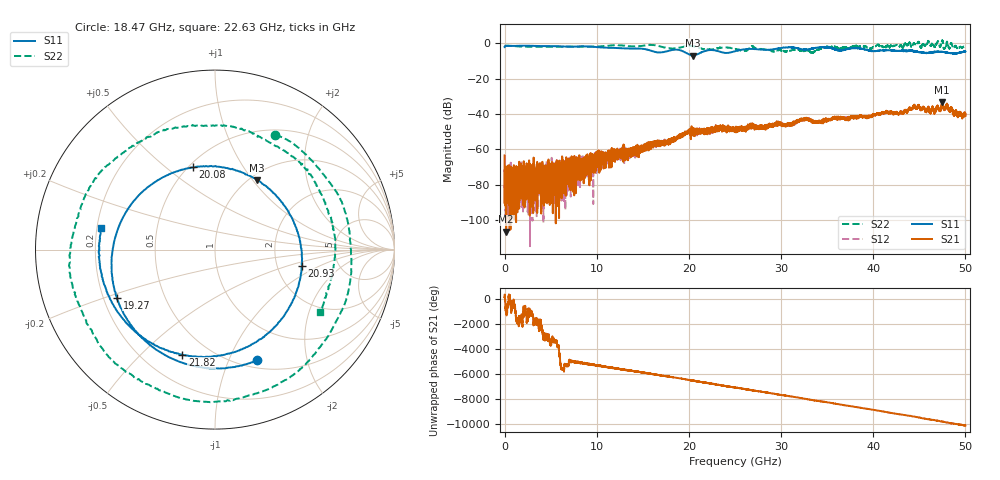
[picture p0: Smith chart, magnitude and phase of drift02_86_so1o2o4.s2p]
!Created with skrf (http://scikit-rf.org).
# Hz S RI R 50.0
!freq ReS11 ImS11 ReS21 ImS21 ReS12 ImS12 ReS22 ImS22
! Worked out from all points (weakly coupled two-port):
!   10001 points, 300 kHz to 50 GHz, reference 50 ohm
!   highest |S21| = -33.45 dB at 47.49 GHz (marker M1); lowest = -106.6 dB at 170.3 MHz (marker M2)
!   lowest |S11| = -6.9 dB at 20.41 GHz (marker M3), VSWR 2.65, Z = 54.1 + j52.4 ohm
!   |S11| at or under -10 dB: nowhere
!   |S22| runs from -5.4 to 1.6 dB; largest |S21 - S12| = 0.0032
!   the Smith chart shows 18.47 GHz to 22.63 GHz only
!   S11 on the Smith chart (normalised r, x): 18.47 GHz: 0.58, -1.28; 19.27 GHz: 0.26, -0.22; 20.08 GHz: 0.53, +0.62; 20.93 GHz: 2.77, -0.66; 21.82 GHz: 0.36, -0.67; 22.63 GHz: 0.22, +0.09
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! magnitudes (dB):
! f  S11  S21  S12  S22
! 300 kHz  -2.1  -63.6  -63.0  -1.3
! 170.3 MHz  -1.5  -106.6  -75.8  -1.4
! 265.3 MHz  -1.4  -82.0  -77.5  -1.4
! 1.815 GHz  -1.4  -77.1  -75.1  -1.8
! 4.505 GHz  -1.6  -74.8  -73.6  -2.0
! 8.335 GHz  -1.7  -67.2  -68.7  -1.9
! 16.67 GHz  -5.2  -57.4  -57.4  -1.4
! 18.47 GHz  -3.6  -53.9  -54.6  -2.8
! 19.27 GHz  -4.3  -52.4  -52.6  -2.1
! 20.08 GHz  -6.5  -49.4  -49.1  -1.5
! 20.41 GHz  -6.9  -50.7  -52.4  -1.7
! 20.93 GHz  -6.1  -50.1  -49.2  -2.2
! 21.82 GHz  -4.2  -50.2  -49.3  -3.5
! 22.63 GHz  -3.8  -47.9  -48.3  -3.3
! 25 GHz  -4.5  -49.5  -49.1  -3.2
! 26.11 GHz  -3.3  -48.0  -47.7  -4.3
! 26.9 GHz  -3.2  -45.6  -46.6  -1.6
! 33.34 GHz  -3.0  -44.1  -43.6  -5.1
! 34.89 GHz  -2.2  -43.8  -43.3  -2.2
! 41.67 GHz  -3.9  -39.4  -39.1  -2.1
! 47.49 GHz  -4.8  -33.5  -33.8  1.6
! 50 GHz  -4.7  -41.1  -39.6  -1.5
